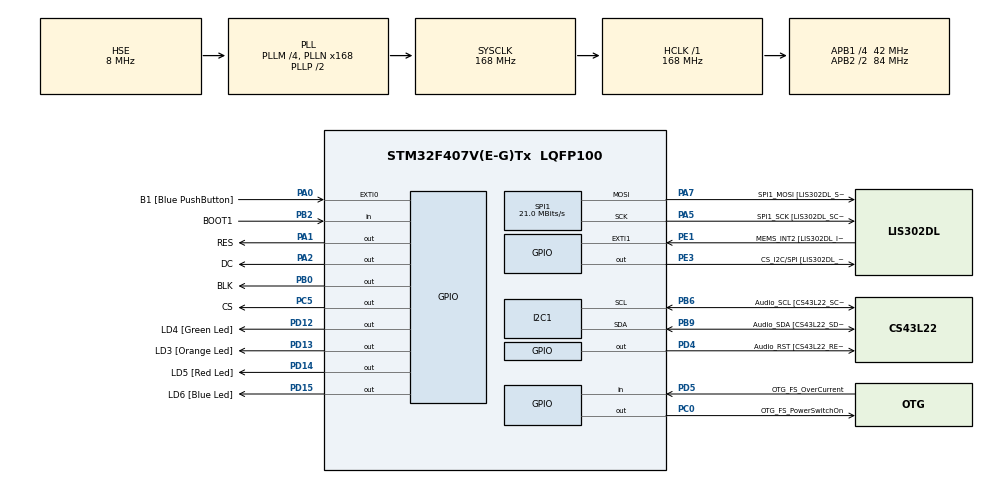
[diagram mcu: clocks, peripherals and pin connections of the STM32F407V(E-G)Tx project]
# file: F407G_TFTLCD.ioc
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Mcu.Family=STM32F4
Mcu.Name=STM32F407V(E-G)Tx
Mcu.Package=LQFP100
NVIC.PriorityGroup=NVIC_PRIORITYGROUP_0
NVIC.SPI1_IRQn=true\:0\:0\:false\:false\:true\:true\:true\:true
PA0-WKUP.GPIO_Label=B1 [Blue PushButton]
PA0-WKUP.GPIO_ModeDefaultEXTI=GPIO_MODE_EVT_RISING
PA0-WKUP.GPIO_PuPd=GPIO_NOPULL
PA0-WKUP.Signal=GPXTI0
PA1.GPIO_Label=RES
PA1.GPIO_Speed=GPIO_SPEED_FREQ_VERY_HIGH
PA1.PinState=GPIO_PIN_SET
PA1.Signal=GPIO_Output
PA10.GPIO_Label=OTG_FS_ID
PA10.GPIO_Mode=GPIO_MODE_AF_PP
PA10.GPIO_PuPd=GPIO_NOPULL
PA10.GPIO_Speed=GPIO_SPEED_FREQ_LOW
PA10.Signal=USB_OTG_FS_ID
PA11.GPIO_Label=OTG_FS_DM
PA11.GPIO_Mode=GPIO_MODE_AF_PP
PA11.GPIO_PuPd=GPIO_NOPULL
PA11.GPIO_Speed=GPIO_SPEED_FREQ_LOW
PA11.Signal=USB_OTG_FS_DM
PA12.GPIO_Label=OTG_FS_DP
PA12.GPIO_Mode=GPIO_MODE_AF_PP
PA12.GPIO_PuPd=GPIO_NOPULL
PA12.GPIO_Speed=GPIO_SPEED_FREQ_LOW
PA12.Signal=USB_OTG_FS_DP
PA13.GPIO_Label=SWDIO
PA13.Mode=Serial_Wire
PA13.Signal=SYS_JTMS-SWDIO
PA14.GPIO_Label=SWCLK
PA14.Mode=Serial_Wire
PA14.Signal=SYS_JTCK-SWCLK
PA2.GPIO_Label=DC
PA2.GPIO_Speed=GPIO_SPEED_FREQ_VERY_HIGH
PA2.Signal=GPIO_Output
PA4.GPIO_Label=I2S3_WS [CS43L22_LRCK]
PA4.GPIO_Mode=GPIO_MODE_AF_PP
PA4.GPIO_PuPd=GPIO_NOPULL
PA4.GPIO_Speed=GPIO_SPEED_FREQ_LOW
PA4.Signal=I2S3_WS
PA5.GPIO_Label=SPI1_SCK [LIS302DL_SCL/SPC]
PA5.GPIO_Mode=GPIO_MODE_AF_PP
PA5.GPIO_PuPd=GPIO_NOPULL
PA5.GPIO_Speed=GPIO_SPEED_FREQ_VERY_HIGH
PA5.Mode=TX_Only_Simplex_Unidirect_Master
PA5.Signal=SPI1_SCK
PA7.GPIO_Label=SPI1_MOSI [LIS302DL_SDA/SDI/SDO]
PA7.GPIO_Mode=GPIO_MODE_AF_PP
PA7.GPIO_PuPd=GPIO_NOPULL
PA7.GPIO_Speed=GPIO_SPEED_FREQ_VERY_HIGH
PA7.Mode=TX_Only_Simplex_Unidirect_Master
PA7.Signal=SPI1_MOSI
PA9.GPIO_Label=VBUS_FS
PA9.GPIO_Mode=GPIO_MODE_INPUT
PA9.GPIO_PuPd=GPIO_NOPULL
PA9.Signal=USB_OTG_FS_VBUS
PB0.GPIO_Label=BLK
PB0.GPIO_Speed=GPIO_SPEED_FREQ_VERY_HIGH
PB0.PinState=GPIO_PIN_SET
PB0.Signal=GPIO_Output
PB10.GPIO_Label=CLK_IN [MP45DT02_CLK]
PB10.GPIO_Mode=GPIO_MODE_AF_PP
PB10.GPIO_PuPd=GPIO_NOPULL
PB10.GPIO_Speed=GPIO_SPEED_FREQ_LOW
PB10.Signal=I2S2_CK
PB2.GPIO_Label=BOOT1
PB2.GPIO_Mode=GPIO_MODE_INPUT
PB2.GPIO_PuPd=GPIO_NOPULL
PB2.Signal=GPIO_Input
PB3.GPIO_Label=SWO
PB3.Signal=SYS_JTDO-SWO
PB6.GPIO_Label=Audio_SCL [CS43L22_SCL]
PB6.GPIO_Mode=GPIO_MODE_AF_OD
PB6.GPIO_Pu=GPIO_PULLUP
PB6.GPIO_PuPd=GPIO_NOPULL
PB6.GPIO_Speed=GPIO_SPEED_FREQ_LOW
PB6.Mode=I2C
PB6.Signal=I2C1_SCL
PB9.GPIO_Label=Audio_SDA [CS43L22_SDA]
PB9.GPIO_Mode=GPIO_MODE_AF_OD
PB9.GPIO_Pu=GPIO_PULLUP
PB9.GPIO_PuPd=GPIO_NOPULL
PB9.GPIO_Speed=GPIO_SPEED_FREQ_LOW
PB9.Mode=I2C
PB9.Signal=I2C1_SDA
PC0.GPIO_Label=OTG_FS_PowerSwitchOn
PC0.GPIO_PuPd=GPIO_NOPULL
PC0.GPIO_Speed=GPIO_SPEED_FREQ_LOW
PC0.PinState=GPIO_PIN_SET
PC0.Signal=GPIO_Output
PC10.GPIO_Label=I2S3_SCK [CS43L22_SCLK]
PC10.GPIO_Mode=GPIO_MODE_AF_PP
PC10.GPIO_PuPd=GPIO_NOPULL
PC10.GPIO_Speed=GPIO_SPEED_FREQ_LOW
PC10.Signal=I2S3_CK
PC12.GPIO_Label=I2S3_SD [CS43L22_SDIN]
PC12.GPIO_Mode=GPIO_MODE_AF_PP
PC12.GPIO_PuPd=GPIO_NOPULL
PC12.GPIO_Speed=GPIO_SPEED_FREQ_LOW
PC12.Signal=I2S3_SD
PC14-OSC32_IN.GPIO_Label=PC14-OSC32_IN
PC14-OSC32_IN.Mode=LSE-External-Oscillator
PC14-OSC32_IN.Signal=RCC_OSC32_IN
PC15-OSC32_OUT.GPIO_Label=PC15-OSC32_OUT
PC15-OSC32_OUT.Mode=LSE-External-Oscillator
PC15-OSC32_OUT.Signal=RCC_OSC32_OUT
PC3.GPIO_Label=PDM_OUT [MP45DT02_DOUT]
PC3.GPIO_Mode=GPIO_MODE_AF_PP
PC3.GPIO_PuPd=GPIO_NOPULL
PC3.GPIO_Speed=GPIO_SPEED_FREQ_LOW
PC3.Signal=I2S2_SD
PC5.GPIO_Label=CS
PC5.GPIO_Speed=GPIO_SPEED_FREQ_VERY_HIGH
PC5.PinState=GPIO_PIN_SET
PC5.Signal=GPIO_Output
PC7.GPIO_Label=I2S3_MCK [CS43L22_MCLK]
PC7.GPIO_Mode=GPIO_MODE_AF_PP
PC7.GPIO_PuPd=GPIO_NOPULL
PC7.GPIO_Speed=GPIO_SPEED_FREQ_LOW
PC7.Signal=I2S3_MCK
PD12.GPIO_Label=LD4 [Green Led]
PD12.GPIO_PuPd=GPIO_NOPULL
PD12.GPIO_Speed=GPIO_SPEED_FREQ_LOW
PD12.Signal=GPIO_Output
PD13.GPIO_Label=LD3 [Orange Led]
PD13.GPIO_PuPd=GPIO_NOPULL
PD13.GPIO_Speed=GPIO_SPEED_FREQ_LOW
PD13.Signal=GPIO_Output
PD14.GPIO_Label=LD5 [Red Led]
PD14.GPIO_PuPd=GPIO_NOPULL
PD14.GPIO_Speed=GPIO_SPEED_FREQ_LOW
PD14.Signal=GPIO_Output
PD15.GPIO_Label=LD6 [Blue Led]
PD15.GPIO_PuPd=GPIO_NOPULL
PD15.GPIO_Speed=GPIO_SPEED_FREQ_LOW
PD15.Signal=GPIO_Output
PD4.GPIO_Label=Audio_RST [CS43L22_RESET]
PD4.GPIO_PuPd=GPIO_NOPULL
PD4.GPIO_Speed=GPIO_SPEED_FREQ_LOW
PD4.Signal=GPIO_Output
PD5.GPIO_Label=OTG_FS_OverCurrent
PD5.GPIO_Mode=GPIO_MODE_INPUT
PD5.GPIO_PuPd=GPIO_NOPULL
PD5.Signal=GPIO_Input
PE1.GPIO_Label=MEMS_INT2 [LIS302DL_INT2]
PE1.GPIO_ModeDefaultEXTI=GPIO_MODE_EVT_RISING
PE1.GPIO_PuPd=GPIO_NOPULL
PE1.Signal=GPXTI1
PE3.GPIO_Label=CS_I2C/SPI [LIS302DL_CS_I2C/SPI]
PE3.GPIO_PuPd=GPIO_NOPULL
PE3.GPIO_Speed=GPIO_SPEED_FREQ_LOW
PE3.Signal=GPIO_Output
PH0-OSC_IN.GPIO_Label=PH0-OSC_IN
PH0-OSC_IN.Mode=HSE-External-Oscillator
PH0-OSC_IN.Signal=RCC_OSC_IN
PH1-OSC_OUT.GPIO_Label=PH1-OSC_OUT
PH1-OSC_OUT.Mode=HSE-External-Oscillator
PH1-OSC_OUT.Signal=RCC_OSC_OUT
ProjectManager.HeapSize=0x200
ProjectManager.StackSize=0x400
ProjectManager.TargetToolchain=STM32CubeIDE
RCC.48MHZClocksFreq_Value=48000000
RCC.AHBFreq_Value=168000000
RCC.APB1CLKDivider=RCC_HCLK_DIV4
RCC.APB1Freq_Value=42000000
RCC.APB1TimFreq_Value=84000000
RCC.APB2CLKDivider=RCC_HCLK_DIV2
RCC.APB2Freq_Value=84000000
RCC.APB2TimFreq_Value=168000000
RCC.CortexFreq_Value=168000000
RCC.HCLKFreq_Value=168000000
RCC.HSE_VALUE=8000000
RCC.HSI_VALUE=16000000
RCC.PLLI2SN=50
RCC.PLLM=4
RCC.PLLN=168
RCC.PLLQ=7
RCC.PLLSourceVirtual=RCC_PLLSOURCE_HSE
RCC.SYSCLKFreq_VALUE=168000000
RCC.SYSCLKSource=RCC_SYSCLKSOURCE_PLLCLK
RCC.VCOOutputFreq_Value=336000000
SPI1.BaudRatePrescaler=SPI_BAUDRATEPRESCALER_4
SPI1.CLKPolarity=SPI_POLARITY_LOW
SPI1.CalculateBaudRate=21.0 MBits/s
SPI1.Direction=SPI_DIRECTION_2LINES
SPI1.Mode=SPI_MODE_MASTER
SPI1.VirtualType=VM_MASTER
board=STM32F407G-DISC1

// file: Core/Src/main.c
/* USER CODE BEGIN Header */
/**
  ******************************************************************************
  * @file           : main.c
  * @brief          : Main program body
  ******************************************************************************
  * @attention
  *
  * Copyright (c) 2024 STMicroelectronics.
  * All rights reserved.
  *
  * This software is licensed under terms that can be found in the LICENSE file
  * in the root directory of this software component.
  * If no LICENSE file comes with this software, it is provided AS-IS.
  *
  ******************************************************************************
  */
/* USER CODE END Header */
#include "main.h"

/* USER CODE BEGIN Includes */
#include "st7789.h"
#include "image.h"
/* USER CODE END Includes */

I2C_HandleTypeDef hi2c1;

SPI_HandleTypeDef hspi1;

void SystemClock_Config(void);
static void MX_GPIO_Init(void);
static void MX_I2C1_Init(void);
static void MX_SPI1_Init(void);

int main(void)
{

  /* MCU Configuration--------------------------------------------------------*/

  /* Reset of all peripherals, Initializes the Flash interface and the Systick. */
  HAL_Init();

  /* Configure the system clock */
  SystemClock_Config();

  /* Initialize all configured peripherals */
  MX_GPIO_Init();
  MX_I2C1_Init();
  MX_SPI1_Init();
  /* USER CODE BEGIN 2 */
  ST7789_Init();
  /* USER CODE END 2 */

  /* Infinite loop */
  /* USER CODE BEGIN WHILE */
  while (1)
  {
	  ST7789_DrawImage(0, 40, 240, 240, (uint16_t *)SmallBites);
	  HAL_Delay(1000);
	  ST7789_Init();
	  ST7789_DrawImage(0, 40, 240, 240, (uint16_t *)AlmondWithCavior);
	  HAL_Delay(1000);
	  ST7789_Init();
	  ST7789_DrawImage(0, 40, 240, 240, (uint16_t *)SnowCrabAndPickledChrysanthemum);
	  HAL_Delay(1000);
	  ST7789_Init();
	  ST7789_DrawImage(0, 40, 240, 240, (uint16_t *)BurdockTarteTatinWithSkinJuice);
	  HAL_Delay(1000);
	  ST7789_Init();
	  ST7789_DrawImage(0, 40, 240, 240, (uint16_t *)EmberToastedAcornNoodle);
	  HAL_Delay(1000);
	  ST7789_Init();
	  ST7789_DrawImage(0, 40, 240, 240, (uint16_t *)HearthOvenGrilledHanwoo);
	  HAL_Delay(1000);
	  ST7789_Init();
	  ST7789_DrawImage(0, 40, 240, 240, (uint16_t *)TilefishMustardBrassica);
	  HAL_Delay(1000);
	  ST7789_Init();
	  ST7789_DrawImage(0, 40, 240, 240, (uint16_t *)SmallSweet1);
	  HAL_Delay(1000);
	  ST7789_Init();
	  ST7789_DrawImage(0, 40, 240, 240, (uint16_t *)anSungJae);
	  HAL_Delay(3000);
	  ST7789_Init();
    /* USER CODE END WHILE */

  }
}

void SystemClock_Config(void)
{
  RCC_OscInitTypeDef RCC_OscInitStruct = {0};
  RCC_ClkInitTypeDef RCC_ClkInitStruct = {0};

  /** Configure the main internal regulator output voltage
  */
  __HAL_RCC_PWR_CLK_ENABLE();
  __HAL_PWR_VOLTAGESCALING_CONFIG(PWR_REGULATOR_VOLTAGE_SCALE1);

  /** Initializes the RCC Oscillators according to the specified parameters
  * in the RCC_OscInitTypeDef structure.
  */
  RCC_OscInitStruct.OscillatorType = RCC_OSCILLATORTYPE_HSE;
  RCC_OscInitStruct.HSEState = RCC_HSE_ON;
  RCC_OscInitStruct.PLL.PLLState = RCC_PLL_ON;
  RCC_OscInitStruct.PLL.PLLSource = RCC_PLLSOURCE_HSE;
  RCC_OscInitStruct.PLL.PLLM = 4;
  RCC_OscInitStruct.PLL.PLLN = 168;
  RCC_OscInitStruct.PLL.PLLP = RCC_PLLP_DIV2;
  RCC_OscInitStruct.PLL.PLLQ = 7;
  if (HAL_RCC_OscConfig(&RCC_OscInitStruct) != HAL_OK)
  {
    Error_Handler();
  }

  /** Initializes the CPU, AHB and APB buses clocks
  */
  RCC_ClkInitStruct.ClockType = RCC_CLOCKTYPE_HCLK|RCC_CLOCKTYPE_SYSCLK
                              |RCC_CLOCKTYPE_PCLK1|RCC_CLOCKTYPE_PCLK2;
  RCC_ClkInitStruct.SYSCLKSource = RCC_SYSCLKSOURCE_PLLCLK;
  RCC_ClkInitStruct.AHBCLKDivider = RCC_SYSCLK_DIV1;
  RCC_ClkInitStruct.APB1CLKDivider = RCC_HCLK_DIV4;
  RCC_ClkInitStruct.APB2CLKDivider = RCC_HCLK_DIV2;

  if (HAL_RCC_ClockConfig(&RCC_ClkInitStruct, FLASH_LATENCY_5) != HAL_OK)
  {
    Error_Handler();
  }
}

static void MX_I2C1_Init(void)
{

  hi2c1.Instance = I2C1;
  hi2c1.Init.ClockSpeed = 100000;
  hi2c1.Init.DutyCycle = I2C_DUTYCYCLE_2;
  hi2c1.Init.OwnAddress1 = 0;
  hi2c1.Init.AddressingMode = I2C_ADDRESSINGMODE_7BIT;
  hi2c1.Init.DualAddressMode = I2C_DUALADDRESS_DISABLE;
  hi2c1.Init.OwnAddress2 = 0;
  hi2c1.Init.GeneralCallMode = I2C_GENERALCALL_DISABLE;
  hi2c1.Init.NoStretchMode = I2C_NOSTRETCH_DISABLE;
  if (HAL_I2C_Init(&hi2c1) != HAL_OK)
  {
    Error_Handler();
  }

}

static void MX_SPI1_Init(void)
{

  /* SPI1 parameter configuration*/
  hspi1.Instance = SPI1;
  hspi1.Init.Mode = SPI_MODE_MASTER;
  hspi1.Init.Direction = SPI_DIRECTION_2LINES;
  hspi1.Init.DataSize = SPI_DATASIZE_8BIT;
  hspi1.Init.CLKPolarity = SPI_POLARITY_LOW;
  hspi1.Init.CLKPhase = SPI_PHASE_1EDGE;
  hspi1.Init.NSS = SPI_NSS_SOFT;
  hspi1.Init.BaudRatePrescaler = SPI_BAUDRATEPRESCALER_4;
  hspi1.Init.FirstBit = SPI_FIRSTBIT_MSB;
  hspi1.Init.TIMode = SPI_TIMODE_DISABLE;
  hspi1.Init.CRCCalculation = SPI_CRCCALCULATION_DISABLE;
  hspi1.Init.CRCPolynomial = 10;
  if (HAL_SPI_Init(&hspi1) != HAL_OK)
  {
    Error_Handler();
  }

}

static void MX_GPIO_Init(void)
{
  GPIO_InitTypeDef GPIO_InitStruct = {0};

  /* GPIO Ports Clock Enable */
  __HAL_RCC_GPIOE_CLK_ENABLE();
  __HAL_RCC_GPIOC_CLK_ENABLE();
  __HAL_RCC_GPIOH_CLK_ENABLE();
  __HAL_RCC_GPIOA_CLK_ENABLE();
  __HAL_RCC_GPIOB_CLK_ENABLE();
  __HAL_RCC_GPIOD_CLK_ENABLE();

  /*Configure GPIO pin Output Level */
  HAL_GPIO_WritePin(CS_I2C_SPI_GPIO_Port, CS_I2C_SPI_Pin, GPIO_PIN_RESET);

  /*Configure GPIO pin Output Level */
  HAL_GPIO_WritePin(GPIOC, OTG_FS_PowerSwitchOn_Pin|CS_Pin, GPIO_PIN_SET);

  /*Configure GPIO pin Output Level */
  HAL_GPIO_WritePin(RES_GPIO_Port, RES_Pin, GPIO_PIN_SET);

  /*Configure GPIO pin Output Level */
  HAL_GPIO_WritePin(DC_GPIO_Port, DC_Pin, GPIO_PIN_RESET);

  /*Configure GPIO pin Output Level */
  HAL_GPIO_WritePin(BLK_GPIO_Port, BLK_Pin, GPIO_PIN_SET);

  /*Configure GPIO pin Output Level */
  HAL_GPIO_WritePin(GPIOD, LD4_Pin|LD3_Pin|LD5_Pin|LD6_Pin
                          |Audio_RST_Pin, GPIO_PIN_RESET);

  /*Configure GPIO pin : CS_I2C_SPI_Pin */
  GPIO_InitStruct.Pin = CS_I2C_SPI_Pin;
  GPIO_InitStruct.Mode = GPIO_MODE_OUTPUT_PP;
  GPIO_InitStruct.Pull = GPIO_NOPULL;
  GPIO_InitStruct.Speed = GPIO_SPEED_FREQ_LOW;
  HAL_GPIO_Init(CS_I2C_SPI_GPIO_Port, &GPIO_InitStruct);

  /*Configure GPIO pin : OTG_FS_PowerSwitchOn_Pin */
  GPIO_InitStruct.Pin = OTG_FS_PowerSwitchOn_Pin;
  GPIO_InitStruct.Mode = GPIO_MODE_OUTPUT_PP;
  GPIO_InitStruct.Pull = GPIO_NOPULL;
  GPIO_InitStruct.Speed = GPIO_SPEED_FREQ_LOW;
  HAL_GPIO_Init(OTG_FS_PowerSwitchOn_GPIO_Port, &GPIO_InitStruct);

  /*Configure GPIO pin : PDM_OUT_Pin */
  GPIO_InitStruct.Pin = PDM_OUT_Pin;
  GPIO_InitStruct.Mode = GPIO_MODE_AF_PP;
  GPIO_InitStruct.Pull = GPIO_NOPULL;
  GPIO_InitStruct.Speed = GPIO_SPEED_FREQ_LOW;
  GPIO_InitStruct.Alternate = GPIO_AF5_SPI2;
  HAL_GPIO_Init(PDM_OUT_GPIO_Port, &GPIO_InitStruct);

  /*Configure GPIO pin : B1_Pin */
  GPIO_InitStruct.Pin = B1_Pin;
  GPIO_InitStruct.Mode = GPIO_MODE_EVT_RISING;
  GPIO_InitStruct.Pull = GPIO_NOPULL;
  HAL_GPIO_Init(B1_GPIO_Port, &GPIO_InitStruct);

  /*Configure GPIO pins : RES_Pin DC_Pin */
  GPIO_InitStruct.Pin = RES_Pin|DC_Pin;
  GPIO_InitStruct.Mode = GPIO_MODE_OUTPUT_PP;
  GPIO_InitStruct.Pull = GPIO_NOPULL;
  GPIO_InitStruct.Speed = GPIO_SPEED_FREQ_VERY_HIGH;
  HAL_GPIO_Init(GPIOA, &GPIO_InitStruct);

  /*Configure GPIO pin : I2S3_WS_Pin */
  GPIO_InitStruct.Pin = I2S3_WS_Pin;
  GPIO_InitStruct.Mode = GPIO_MODE_AF_PP;
  GPIO_InitStruct.Pull = GPIO_NOPULL;
  GPIO_InitStruct.Speed = GPIO_SPEED_FREQ_LOW;
  GPIO_InitStruct.Alternate = GPIO_AF6_SPI3;
  HAL_GPIO_Init(I2S3_WS_GPIO_Port, &GPIO_InitStruct);

  /*Configure GPIO pin : CS_Pin */
  GPIO_InitStruct.Pin = CS_Pin;
  GPIO_InitStruct.Mode = GPIO_MODE_OUTPUT_PP;
  GPIO_InitStruct.Pull = GPIO_NOPULL;
  GPIO_InitStruct.Speed = GPIO_SPEED_FREQ_VERY_HIGH;
  HAL_GPIO_Init(CS_GPIO_Port, &GPIO_InitStruct);

  /*Configure GPIO pin : BLK_Pin */
  GPIO_InitStruct.Pin = BLK_Pin;
  GPIO_InitStruct.Mode = GPIO_MODE_OUTPUT_PP;
  GPIO_InitStruct.Pull = GPIO_NOPULL;
  GPIO_InitStruct.Speed = GPIO_SPEED_FREQ_VERY_HIGH;
  HAL_GPIO_Init(BLK_GPIO_Port, &GPIO_InitStruct);

  /*Configure GPIO pin : BOOT1_Pin */
  GPIO_InitStruct.Pin = BOOT1_Pin;
  GPIO_InitStruct.Mode = GPIO_MODE_INPUT;
  GPIO_InitStruct.Pull = GPIO_NOPULL;
  HAL_GPIO_Init(BOOT1_GPIO_Port, &GPIO_InitStruct);

  /*Configure GPIO pin : CLK_IN_Pin */
  GPIO_InitStruct.Pin = CLK_IN_Pin;
  GPIO_InitStruct.Mode = GPIO_MODE_AF_PP;
  GPIO_InitStruct.Pull = GPIO_NOPULL;
  GPIO_InitStruct.Speed = GPIO_SPEED_FREQ_LOW;
  GPIO_InitStruct.Alternate = GPIO_AF5_SPI2;
  HAL_GPIO_Init(CLK_IN_GPIO_Port, &GPIO_InitStruct);

  /*Configure GPIO pins : LD4_Pin LD3_Pin LD5_Pin LD6_Pin
                           Audio_RST_Pin */
  GPIO_InitStruct.Pin = LD4_Pin|LD3_Pin|LD5_Pin|LD6_Pin
                          |Audio_RST_Pin;
  GPIO_InitStruct.Mode = GPIO_MODE_OUTPUT_PP;
  GPIO_InitStruct.Pull = GPIO_NOPULL;
  GPIO_InitStruct.Speed = GPIO_SPEED_FREQ_LOW;
  HAL_GPIO_Init(GPIOD, &GPIO_InitStruct);

  /*Configure GPIO pins : I2S3_MCK_Pin I2S3_SCK_Pin I2S3_SD_Pin */
  GPIO_InitStruct.Pin = I2S3_MCK_Pin|I2S3_SCK_Pin|I2S3_SD_Pin;
  GPIO_InitStruct.Mode = GPIO_MODE_AF_PP;
  GPIO_InitStruct.Pull = GPIO_NOPULL;
  GPIO_InitStruct.Speed = GPIO_SPEED_FREQ_LOW;
  GPIO_InitStruct.Alternate = GPIO_AF6_SPI3;
  HAL_GPIO_Init(GPIOC, &GPIO_InitStruct);

  /*Configure GPIO pin : VBUS_FS_Pin */
  GPIO_InitStruct.Pin = VBUS_FS_Pin;
  GPIO_InitStruct.Mode = GPIO_MODE_INPUT;
  GPIO_InitStruct.Pull = GPIO_NOPULL;
  HAL_GPIO_Init(VBUS_FS_GPIO_Port, &GPIO_InitStruct);

  /*Configure GPIO pins : OTG_FS_ID_Pin OTG_FS_DM_Pin OTG_FS_DP_Pin */
  GPIO_InitStruct.Pin = OTG_FS_ID_Pin|OTG_FS_DM_Pin|OTG_FS_DP_Pin;
  GPIO_InitStruct.Mode = GPIO_MODE_AF_PP;
  GPIO_InitStruct.Pull = GPIO_NOPULL;
  GPIO_InitStruct.Speed = GPIO_SPEED_FREQ_LOW;
  GPIO_InitStruct.Alternate = GPIO_AF10_OTG_FS;
  HAL_GPIO_Init(GPIOA, &GPIO_InitStruct);

  /*Configure GPIO pin : OTG_FS_OverCurrent_Pin */
  GPIO_InitStruct.Pin = OTG_FS_OverCurrent_Pin;
  GPIO_InitStruct.Mode = GPIO_MODE_INPUT;
  GPIO_InitStruct.Pull = GPIO_NOPULL;
  HAL_GPIO_Init(OTG_FS_OverCurrent_GPIO_Port, &GPIO_InitStruct);

  /*Configure GPIO pin : MEMS_INT2_Pin */
  GPIO_InitStruct.Pin = MEMS_INT2_Pin;
  GPIO_InitStruct.Mode = GPIO_MODE_EVT_RISING;
  GPIO_InitStruct.Pull = GPIO_NOPULL;
  HAL_GPIO_Init(MEMS_INT2_GPIO_Port, &GPIO_InitStruct);

}

void Error_Handler(void)
{
  __disable_irq();
  while (1)
  {
  }
}
